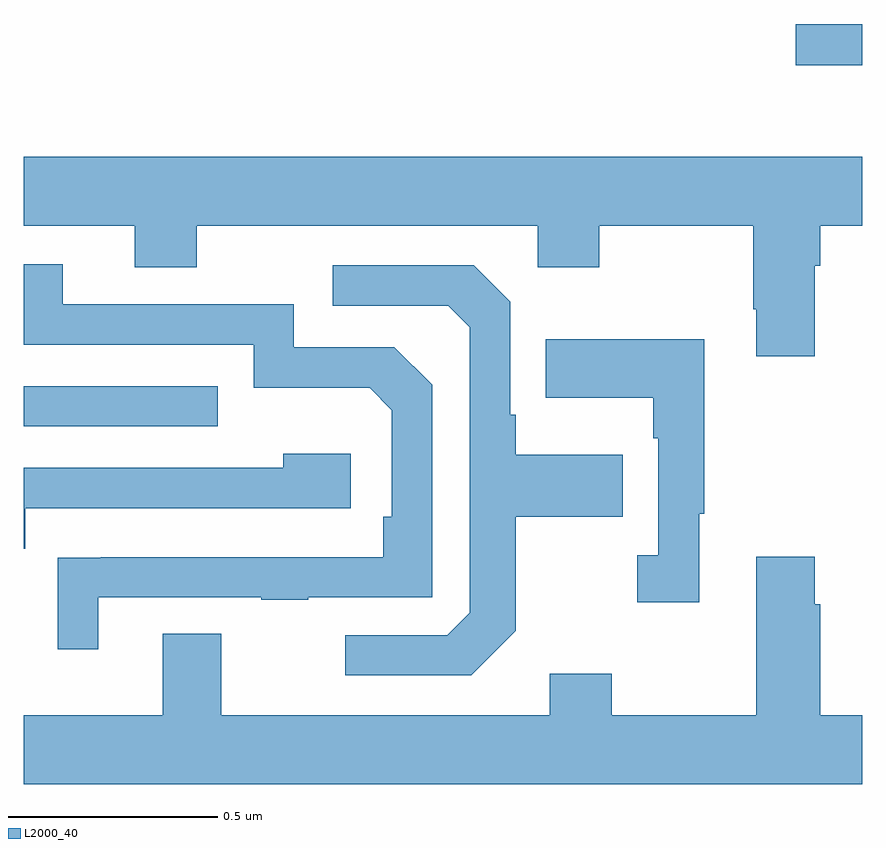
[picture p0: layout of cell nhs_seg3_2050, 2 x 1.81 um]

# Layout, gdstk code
import gdstk
lib = gdstk.Library(unit=1e-6, precision=1e-09)
def R(c, l, rs):  # rectangles x0, y0, x1, y1
    for r in rs: c.add(gdstk.rectangle(r[:2], r[2:], *l))
def P(c, l, *ps):  # polygons
    for p in ps: c.add(gdstk.Polygon(p, *l))
L2000_40 = (2000, 40)

nhs_seg3_2050 = lib.new_cell('nhs_seg3_2050')
R(nhs_seg3_2050, L2000_40, [(136,704.433,136.463,704.529), (137.841,705.295,138,705.393)])
P(nhs_seg3_2050, L2000_40, [(137.887,704.816),(137.9,704.816),(137.9,704.912),(138,704.912),(138,705.076),(136,705.076),(136,704.912),(136.265,704.912),(136.265,704.813),(136.413,704.813),(136.413,704.912),(137.226,704.912),(137.226,704.813),(137.373,704.813),(137.373,704.912),(137.74,704.912),(137.74,704.713),(137.747,704.713),(137.747,704.601),(137.887,704.601)],
  [(136.177,704.025),(136.567,704.025),(136.567,704.02),(136.679,704.02),(136.679,704.025),(136.974,704.025),(136.974,704.532),(136.884,704.622),(136.644,704.622),(136.644,704.724),(136.093,704.724),(136.093,704.82),(136,704.82),(136,704.628),(136.548,704.628),(136.548,704.525),(136.825,704.525),(136.878,704.472),(136.878,704.218),(136.858,704.218),(136.858,704.121),(136.183,704.121),(136.183,704.12),(136.081,704.12),(136.081,703.902),(136.177,703.902)],
  [(137.173,703.945),(137.173,704.218),(137.429,704.218),(137.429,704.365),(137.173,704.365),(137.173,704.461),(137.16,704.461),(137.16,704.73),(137.073,704.817),(136.737,704.817),(136.737,704.721),(137.013,704.721),(137.064,704.67),(137.064,703.989),(137.01,703.935),(136.767,703.935),(136.767,703.839),(137.067,703.839)],
  [(137.611,704.225),(137.623,704.225),(137.623,704.641),(137.245,704.641),(137.245,704.501),(137.502,704.501),(137.502,704.405),(137.514,704.405),(137.514,704.126),(137.463,704.126),(137.463,704.013),(137.611,704.013)],
  [(136.003,704.238),(136.78,704.238),(136.78,704.368),(136.619,704.368),(136.619,704.334),(136,704.334),(136,704.141),(136.003,704.141)],
  [(138,703.744),(137.9,703.744),(137.9,704.009),(137.887,704.009),(137.887,704.122),(137.747,704.122),(137.747,703.744),(137.403,703.744),(137.403,703.843),(137.255,703.843),(137.255,703.744),(136.471,703.744),(136.471,703.939),(136.331,703.939),(136.331,703.744),(136,703.744),(136,703.58),(138,703.58)])

lib.write_gds('nhs_seg3_2050.gds')
